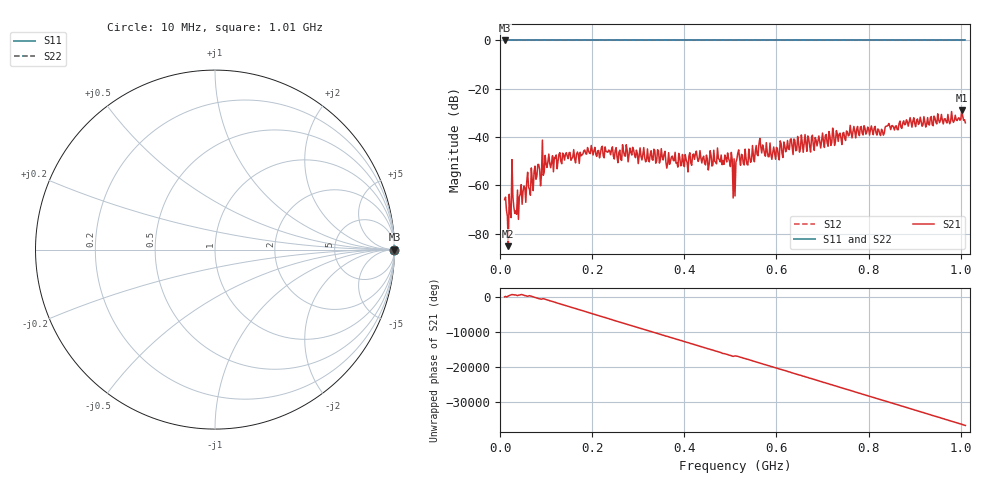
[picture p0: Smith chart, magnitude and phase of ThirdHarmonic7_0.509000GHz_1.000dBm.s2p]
! 8/17/2025 2:44:14 PM
! C:\ANRITSUVNA\TEMP\TEMP.S2P
! CHANNEL.1
! TR.MEASUREMENT
! RAW.DATA
! RF.CORRECTION.OFF
! AVERAGING.OFF
! IF.BANDWIDTH: 5KHZ
! SWEEPTYPE:  FREQ.SWEEP(Linear)
! Reference Plane Port Info
! PORT:  PORT1  PORT2
! DISTANCE:  0  m  0  m
! TIME:  0  s  0  s
! PHASE.OFFSET:  0  deg.  0  deg.
! LOSS:  0  dB  0  dB
! REF.LOSS:  0  dB  0  dB
! REF.FREQ:  0  Hz  0  Hz
! Power Info
! POWER:  -20  dBm  -20  dBm
! EFF.POWER:  -20  dBm  -20  dBm
! SOURCE.ATTEN:  0  dB  0  dB
! TEST.ATTEN:  0  dB  0  dB
# GHZ S RI R 50.0
! FREQ.GHZ  S11RE  S11IM  S21RE  S21IM  S12RE  S12IM  S22RE  S22IM
!; PortSelection: Port_12
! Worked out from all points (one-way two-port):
!   501 points, 10 MHz to 1.01 GHz, reference 50 ohm
!   highest |S21| = -29.01 dB at 1.002 GHz (marker M1); lowest = -85.2 dB at 18 MHz (marker M2)
!   lowest |S11| = 0.0 dB at 10 MHz (marker M3)
!   |S11| at or under -10 dB: nowhere
!   |S22| runs from 0.0 to 0.0 dB; largest |S21 - S12| = 1
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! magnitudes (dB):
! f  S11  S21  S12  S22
! 10 MHz  0.0  -66.0  0.0  0.0
! 18 MHz  0.0  -85.2  0.0  0.0
! 20 MHz  0.0  -63.8  0.0  0.0
! 24 MHz  0.0  -73.4  0.0  0.0
! 36 MHz  0.0  -72.1  0.0  0.0
! 48 MHz  0.0  -67.9  0.0  0.0
! 96 MHz  0.0  -54.5  0.0  0.0
! 178 MHz  0.0  -47.4  0.0  0.0
! 344 MHz  0.0  -45.7  0.0  0.0
! 404 MHz  0.0  -49.4  0.0  0.0
! 422 MHz  0.0  -49.3  0.0  0.0
! 492 MHz  0.0  -50.3  0.0  0.0
! 510 MHz  0.0  -64.4  0.0  0.0
! 516 MHz  0.0  -46.8  0.0  0.0
! 540 MHz  0.0  -45.0  0.0  0.0
! 566 MHz  0.0  -44.1  0.0  0.0
! 602 MHz  0.0  -44.8  0.0  0.0
! 628 MHz  0.0  -45.2  0.0  0.0
! 678 MHz  0.0  -39.3  0.0  0.0
! 844 MHz  0.0  -34.4  0.0  0.0
! 1.002 GHz  0.0  -29.0  0.0  0.0
! 1.01 GHz  0.0  -34.1  0.0  0.0
